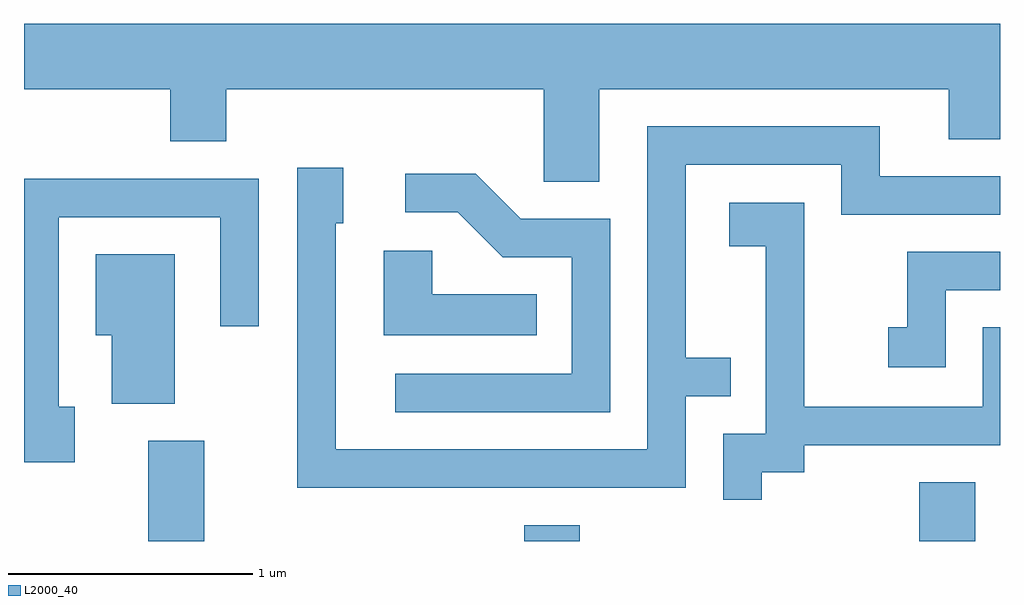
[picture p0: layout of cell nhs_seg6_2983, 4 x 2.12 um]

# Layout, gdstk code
import gdstk
lib = gdstk.Library(unit=1e-6, precision=1e-09)
def R(c, l, rs):  # rectangles x0, y0, x1, y1
    for r in rs: c.add(gdstk.rectangle(r[:2], r[2:], *l))
def P(c, l, *ps):  # polygons
    for p in ps: c.add(gdstk.Polygon(p, *l))
L2000_40 = (2000, 40)

nhs_seg6_2983 = lib.new_cell('nhs_seg6_2983')
R(nhs_seg6_2983, L2000_40, [(276.121,1568.162,276.349,1568.574), (277.661,1568.162,277.889,1568.229), (279.281,1568.162,279.509,1568.404)])
P(nhs_seg6_2983, L2000_40, [(277.969,1570.016),(279.401,1570.016),(279.401,1569.811),(279.611,1569.811),(279.611,1570.284),(275.611,1570.284),(275.611,1570.016),(276.211,1570.016),(276.211,1569.801),(276.439,1569.801),(276.439,1570.016),(277.741,1570.016),(277.741,1569.636),(277.969,1569.636)],
  [(278.324,1568.756),(278.508,1568.756),(278.508,1568.914),(278.324,1568.914),(278.324,1569.706),(278.961,1569.706),(278.961,1569.501),(279.611,1569.501),(279.611,1569.659),(279.119,1569.659),(279.119,1569.864),(278.166,1569.864),(278.166,1568.539),(276.889,1568.539),(276.889,1569.466),(276.919,1569.466),(276.919,1569.694),(276.731,1569.694),(276.731,1568.381),(278.324,1568.381)],
  [(278.014,1569.484),(277.647,1569.484),(277.462,1569.669),(277.173,1569.669),(277.173,1569.511),(277.389,1569.511),(277.574,1569.326),(277.856,1569.326),(277.856,1568.849),(277.133,1568.849),(277.133,1568.691),(278.014,1568.691)],
  [(275.819,1568.714),(275.754,1568.714),(275.754,1569.491),(276.416,1569.491),(276.416,1569.043),(276.574,1569.043),(276.574,1569.649),(275.611,1569.649),(275.611,1568.486),(275.819,1568.486)],
  [(278.634,1568.446),(278.809,1568.446),(278.809,1568.556),(279.611,1568.556),(279.611,1569.039),(279.541,1569.039),(279.541,1568.714),(278.809,1568.714),(278.809,1569.549),(278.501,1569.549),(278.501,1569.371),(278.651,1569.371),(278.651,1568.604),(278.476,1568.604),(278.476,1568.333),(278.634,1568.333)],
  [(277.713,1569.174),(277.284,1569.174),(277.284,1569.354),(277.086,1569.354),(277.086,1569.006),(277.713,1569.006)],
  [(279.389,1569.191),(279.611,1569.191),(279.611,1569.349),(279.231,1569.349),(279.231,1569.039),(279.153,1569.039),(279.153,1568.876),(279.389,1568.876)],
  [(276.229,1569.339),(275.906,1569.339),(275.906,1569.006),(275.971,1569.006),(275.971,1568.726),(276.229,1568.726)])

lib.write_gds('nhs_seg6_2983.gds')
